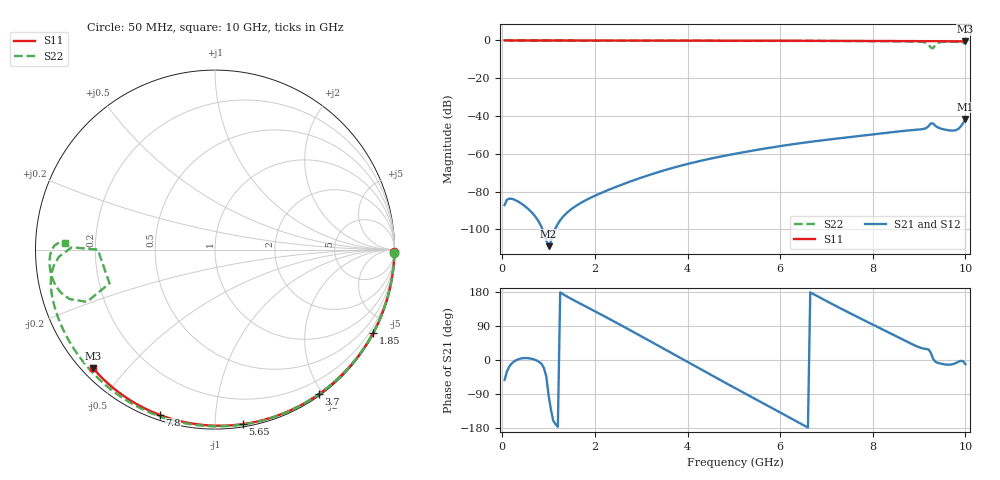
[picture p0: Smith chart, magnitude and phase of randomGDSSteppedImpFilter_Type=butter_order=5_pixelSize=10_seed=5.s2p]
! freq	dB(S11)	phase(S11)	dB(S12)	phase(S12)
!  dB(S21)	phase(S21)	dB(S22)	phase(S22)
!S-par simulation data
#  GHz  S  DB  R 50
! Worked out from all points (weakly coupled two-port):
!   200 points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, 50 MHz to 10 GHz, reference 50 ohm
!   highest |S21| = -41.60 dB at 10 GHz (marker M1); lowest = -108.8 dB at 1 GHz (marker M2)
!   lowest |S11| = -0.5 dB at 10 GHz (marker M3), VSWR 37.23, Z = 1.57 - j20.4 ohm
!   |S11| at or under -10 dB: nowhere
!   |S22| runs from -4.2 to 0.0 dB; largest |S21 - S12| = 0
!   S11 on the Smith chart (normalised r, x): 50 MHz: open; 1.85 GHz: 0.04, -4.05; 3.7 GHz: 0.02, -1.95; 5.65 GHz: 0.02, -1.17; 7.8 GHz: 0.02, -0.72; 10 GHz: 0.03, -0.41
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0.05  -0.00 -0.8  -87.11 -52.4  -87.11 -52.4  -0.00 -1.0
1  -0.02 -15.1  -108.84 -93.1  -108.84 -93.1  -0.03 -20.1
1.75  -0.03 -26.3  -85.20 144.6  -85.20 144.6  -0.04 -34.9
1.85  -0.04 -27.7  -83.92 138.2  -83.92 138.2  -0.05 -36.9
2.2  -0.04 -32.9  -80.00 115.7  -80.00 115.7  -0.06 -43.6
3.4  -0.07 -50.2  -69.42 35.5  -69.42 35.5  -0.09 -66.4
3.7  -0.07 -54.4  -67.27 15.1  -67.27 15.1  -0.10 -71.9
5.05  -0.11 -73.0  -59.84 -75.5  -59.84 -75.5  -0.15 -96.2
5.65  -0.14 -81.0  -57.27 -115.1  -57.27 -115.1  -0.18 -106.7
6.7  -0.19 -94.6  -53.48 175.1  -53.48 175.1  -0.25 -124.9
7.8  -0.26 -108.5  -50.30 105.6  -50.30 105.6  -0.34 -144.2
8.35  -0.30 -115.3  -48.71 72.3  -48.71 72.3  -0.40 -154.5
8.85  -0.34 -121.5  -47.43 41.7  -47.43 41.7  -0.52 -165.4
9.1  -0.37 -124.6  -46.79 30.0  -46.79 30.0  -0.89 -174.3
9.2  -0.38 -125.8  -45.47 28.1  -45.47 28.1  -1.95 179.1
9.25  -0.38 -126.4  -43.94 20.2  -43.94 20.2  -3.70 -180.0
9.3  -0.39 -127.0  -43.90 3.6  -43.90 3.6  -4.19 -162.2
9.35  -0.39 -127.7  -45.11 -4.6  -45.11 -4.6  -2.26 -157.8
9.45  -0.40 -128.9  -46.48 -9.0  -46.48 -9.0  -0.99 -164.5
9.75  -0.44 -132.6  -47.66 -10.2  -47.66 -10.2  -0.69 -176.4
9.9  -0.45 -134.4  -45.54 -2.1  -45.54 -2.1  -0.96 178.6
10  -0.47 -135.7  -41.60 -10.9  -41.60 -10.9  -1.55 177.7
